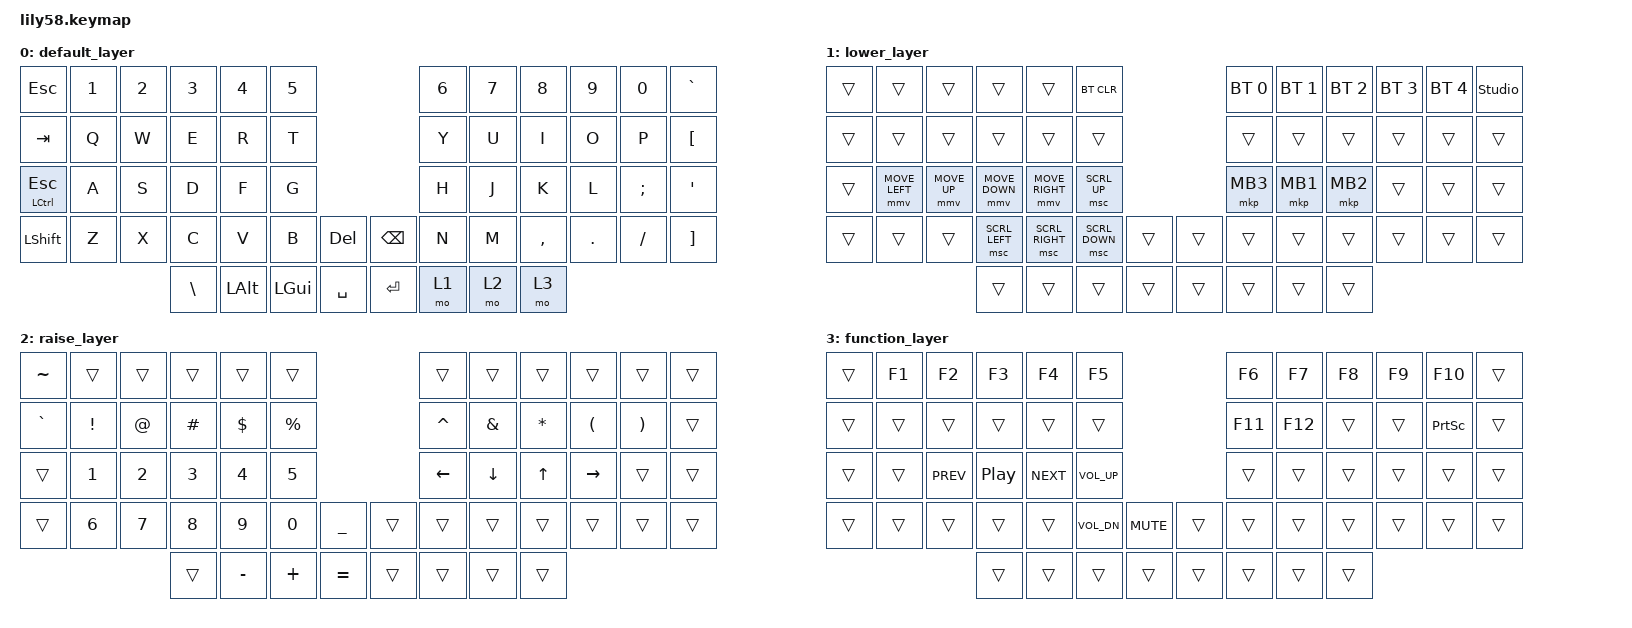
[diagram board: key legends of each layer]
/*
 * Copyright (c) 2020 The ZMK Contributors
 *
 * SPDX-License-Identifier: MIT
 */

#include <behaviors.dtsi>
#include <dt-bindings/zmk/bt.h>
#include <dt-bindings/zmk/keys.h>
#include <dt-bindings/zmk/pointing.h>

/ {
    keymap {
        compatible = "zmk,keymap";

        default_layer {
            // -------------------------------------------------------------------------------------------------------------
            // |   ESC    |  1  |  2  |   3   |   4   |   5   |                  |   6   |  7   |  8   |  9   |   0   |   `   |
            // |   TAB    |  Q  |  W  |   E   |   R   |   T   |                  |   Y   |  U   |  I   |  O   |   P   |   -   |
            // | CTRL/ESC |  A  |  S  |   D   |   F   |   G   |                  |   H   |  J   |  K   |  L   |   ;   |   '   |
            // |  SHIFT   |  Z  |  X  |   C   |   V   |   B   | PG_DN |  | PG_UP |   N   |  M   |  ,   |  .   |   /   | SHIFT |
            //                        |  ALT  |  GUI  | LOWER | SPACE |  | ENTER | RAISE | BSPC |  FN  |

            bindings = <
&kp ESC        &kp N1  &kp N2  &kp N3         &kp N4        &kp N5                                    &kp N6  &kp N7  &kp N8     &kp N9   &kp N0    &kp GRAVE
&kp TAB        &kp Q   &kp W   &kp E          &kp R         &kp T                                     &kp Y   &kp U   &kp I      &kp O    &kp P     &kp LEFT_BRACKET
&mt LCTRL ESC  &kp A   &kp S   &kp D          &kp F         &kp G                                     &kp H   &kp J   &kp K      &kp L    &kp SEMI  &kp SQT
&kp LSHFT      &kp Z   &kp X   &kp C          &kp V         &kp B         &kp DEL      &kp BACKSPACE  &kp N   &kp M   &kp COMMA  &kp DOT  &kp FSLH  &kp RIGHT_BRACKET
                               &kp BACKSLASH  &kp LEFT_ALT  &kp LEFT_GUI  &kp SPACE    &kp ENTER      &mo 1   &mo 2   &mo 3
            >;
        };

        lower_layer {
            // ------------------------------------------------------------------------------------------------------------------
            // | BTCLR |  BT1  |  BT2  |  BT3  |  BT4  |  BT5  |                  |           |         |           |            |       |       |
            // |       |       |       |       |       |       |                  |           |         |           |            |       |       |
            // |       |       |       |       |       |       |                  | SCRL_LEFT | SCRL_UP | SCRL_DOWN | SCRL_RIGHT |       |  "|"  |
            // |       |       |       |       |       |       |       |  |       |           |         |     [     |      ]     |   =   |       |
            //                         |       |  MB4  |       |       |  |  DEL  |           |         |           |

            bindings = <
&trans  &trans          &trans        &trans          &trans           &bt BT_CLR                        &bt BT_SEL 0  &bt BT_SEL 1  &bt BT_SEL 2  &bt BT_SEL 3  &bt BT_SEL 4  &studio_unlock
&trans  &trans          &trans        &trans          &trans           &trans                            &trans        &trans        &trans        &trans        &trans        &trans
&trans  &mmv MOVE_LEFT  &mmv MOVE_UP  &mmv MOVE_DOWN  &mmv MOVE_RIGHT  &msc SCRL_UP                      &mkp MB3      &mkp MB1      &mkp MB2      &trans        &trans        &trans
&trans  &trans          &trans        &msc SCRL_LEFT  &msc SCRL_RIGHT  &msc SCRL_DOWN  &trans    &trans  &trans        &trans        &trans        &trans        &trans        &trans
                                      &trans          &trans           &trans          &trans    &trans  &trans        &trans        &trans
            >;
        };

        raise_layer {
            // ------------------------------------------------------------------------------------------------------------
            // |      |      |      |      |      |      |                  |      |       |       |      |       |       |
            // |      |      |      |      |      |      |                  |      |       |       |      |       |       |
            // |      |      |      |      |      |      |                  |  <-  |   v   |   ^   |  ->  |       |   \   |
            // |      |      |      |      |      |      |       |  |       |      |       |   {   |  }   |   +   |       |
            //                      |      |      |      |       |  |       |      |       |       |

            bindings = <
&kp TILDE  &trans    &trans  &trans    &trans     &trans                          &trans     &trans    &trans     &trans     &trans    &trans
&kp GRAVE  &kp EXCL  &kp AT  &kp HASH  &kp DLLR   &kp PRCNT                       &kp CARET  &kp AMPS  &kp ASTRK  &kp LPAR   &kp RPAR  &trans
&trans     &kp N1    &kp N2  &kp N3    &kp N4     &kp N5                          &kp LEFT   &kp DOWN  &kp UP     &kp RIGHT  &trans    &trans
&trans     &kp N6    &kp N7  &kp N8    &kp N9     &kp N0     &kp UNDER    &trans  &trans     &trans    &trans     &trans     &trans    &trans
                             &trans    &kp MINUS  &kp PLUS   &kp EQUAL    &trans  &trans     &trans    &trans
            >;
        };

        function_layer {
            // ------------------------------------------------------------------------------------------------------------
            // |      |  F1  |  F2  |  F3  |  F4  |  F5  |                  |  F6   |  F7   |  F8  |  F9  |  F10  |       |
            // |      |      |      |      |      |      |                  |  F11  |  F12  |      |      | PSCRN |       |
            // |      | PREV | NEXT |      |      |      |                  |       |       |      |      |       |       |
            // |      | PLAY | MUTE | VOL- | VOL+ |      |       |  |       |       |       |      |      |       |       |
            //                      |      |      |      |       |  |       |       |       |      |

            bindings = <
&trans  &kp F1  &kp F2      &kp F3    &kp F4      &kp F5                              &kp F6   &kp F7   &kp F8  &kp F9  &kp F10    &trans
&trans  &trans  &trans      &trans    &trans      &trans                              &kp F11  &kp F12  &trans  &trans  &kp PSCRN  &trans
&trans  &trans  &kp C_PREV  &kp C_PP  &kp C_NEXT  &kp C_VOL_UP                        &trans   &trans   &trans  &trans  &trans     &trans
&trans  &trans  &trans      &trans    &trans      &kp C_VOL_DN  &kp C_MUTE    &trans  &trans   &trans   &trans  &trans  &trans     &trans
                            &trans    &trans      &trans        &trans        &trans  &trans   &trans   &trans
            >;
        };
    };
};
